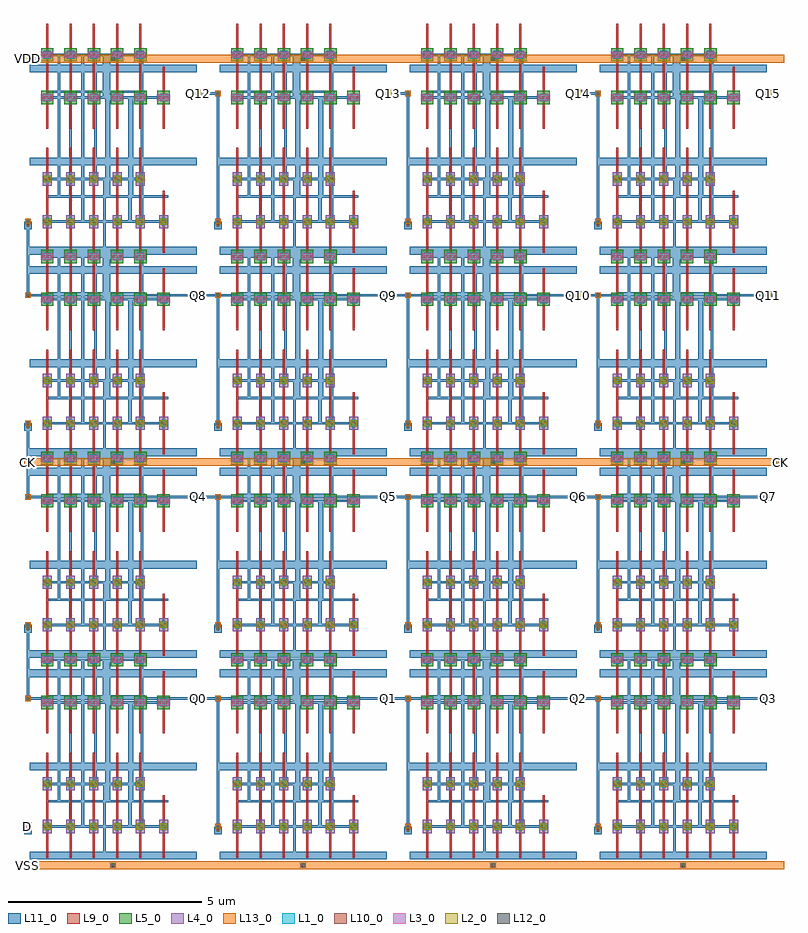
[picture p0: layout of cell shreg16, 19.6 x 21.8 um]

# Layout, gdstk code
import gdstk
lib = gdstk.Library(unit=1e-6, precision=5e-10)
def R(c, l, rs):  # rectangles x0, y0, x1, y1
    for r in rs: c.add(gdstk.rectangle(r[:2], r[2:], *l))
def A(c, l, x, y, w, h, nx, ny, dx, dy):  # array of equal rectangles
    R(c, l, [(x+i*dx, y+j*dy, x+i*dx+w, y+j*dy+h) for i in range(nx) for j in range(ny)])
L1_0 = (1, 0)
L2_0 = (2, 0)
L3_0 = (3, 0)
L4_0 = (4, 0)
L5_0 = (5, 0)
L9_0 = (9, 0)
L10_0 = (10, 0)
L11_0 = (11, 0)
L12_0 = (12, 0)
L13_0 = (13, 0)

dff = lib.new_cell('dff')
A(dff, L1_0, 0.555, 0.9, 0.09, 0.2, 6, 1, 0.6, 0)
A(dff, L1_0, 0.555, 2, 0.09, 0.2, 5, 1, 0.6, 0)
A(dff, L1_0, 0.51, 4.1, 0.18, 0.2, 6, 1, 0.6, 0)
A(dff, L1_0, 0.51, 5.2, 0.18, 0.2, 5, 1, 0.6, 0)
A(dff, L2_0, 0.5, 0.92, 0.2, 0.16, 6, 1, 0.6, 0)
A(dff, L2_0, 0.5, 2.02, 0.2, 0.16, 5, 1, 0.6, 0)
A(dff, L3_0, 0.455, 4.12, 0.29, 0.16, 6, 1, 0.6, 0)
A(dff, L3_0, 0.455, 5.22, 0.29, 0.16, 5, 1, 0.6, 0)
A(dff, L4_0, 0.485, 0.83, 0.23, 0.34, 6, 1, 0.6, 0)
A(dff, L4_0, 0.485, 1.93, 0.23, 0.34, 5, 1, 0.6, 0)
A(dff, L5_0, 0.44, 4.03, 0.32, 0.34, 6, 1, 0.6, 0)
A(dff, L5_0, 0.44, 5.13, 0.32, 0.34, 5, 1, 0.6, 0)
A(dff, L9_0, 0.575, 0.2, 0.05, 1.6, 6, 2, 0.6, 3.2)
A(dff, L9_0, 0.575, 1.3, 0.05, 1.6, 5, 2, 0.6, 3.2)
R(dff, L10_0, [(0.0675,0.8675,0.1325,0.9325), (0.5225,0.9675,0.5875,1.0325), (0.5225,0.9675,0.5875,1.0325), (0.5675,0.9675,0.6325,1.0325), (0.5675,0.9675,0.6325,1.0325), (0.6125,0.9675,0.6775,1.0325), (0.6125,0.9675,0.6775,1.0325), (1.1225,0.9675,1.1875,1.0325), (1.1225,0.9675,1.1875,1.0325), (1.1675,0.9675,1.2325,1.0325), (1.1675,0.9675,1.2325,1.0325), (1.2125,0.9675,1.2775,1.0325), (1.2125,0.9675,1.2775,1.0325), (1.7225,0.9675,1.7875,1.0325), (1.7225,0.9675,1.7875,1.0325), (1.7675,0.9675,1.8325,1.0325), (1.7675,0.9675,1.8325,1.0325), (1.8125,0.9675,1.8775,1.0325), (1.8125,0.9675,1.8775,1.0325), (2.3225,0.9675,2.3875,1.0325), (2.3225,0.9675,2.3875,1.0325), (2.3675,0.9675,2.4325,1.0325), (2.3675,0.9675,2.4325,1.0325), (2.4125,0.9675,2.4775,1.0325), (2.4125,0.9675,2.4775,1.0325), (2.9225,0.9675,2.9875,1.0325), (2.9225,0.9675,2.9875,1.0325), (2.9675,0.9675,3.0325,1.0325), (2.9675,0.9675,3.0325,1.0325), (3.0125,0.9675,3.0775,1.0325), (3.0125,0.9675,3.0775,1.0325), (3.5225,0.9675,3.5875,1.0325), (3.5225,0.9675,3.5875,1.0325), (3.5675,0.9675,3.6325,1.0325), (3.5675,0.9675,3.6325,1.0325), (3.6125,0.9675,3.6775,1.0325), (3.6125,0.9675,3.6775,1.0325), (0.5225,2.0675,0.5875,2.1325), (0.5225,2.0675,0.5875,2.1325), (0.5675,2.0675,0.6325,2.1325), (0.5675,2.0675,0.6325,2.1325), (0.6125,2.0675,0.6775,2.1325), (0.6125,2.0675,0.6775,2.1325), (1.1225,2.0675,1.1875,2.1325), (1.1225,2.0675,1.1875,2.1325), (1.1675,2.0675,1.2325,2.1325), (1.1675,2.0675,1.2325,2.1325), (1.2125,2.0675,1.2775,2.1325), (1.2125,2.0675,1.2775,2.1325), (1.7225,2.0675,1.7875,2.1325), (1.7225,2.0675,1.7875,2.1325), (1.7675,2.0675,1.8325,2.1325), (1.7675,2.0675,1.8325,2.1325), (1.8125,2.0675,1.8775,2.1325), (1.8125,2.0675,1.8775,2.1325), (2.3225,2.0675,2.3875,2.1325), (2.3225,2.0675,2.3875,2.1325), (2.3675,2.0675,2.4325,2.1325), (2.3675,2.0675,2.4325,2.1325), (2.4125,2.0675,2.4775,2.1325), (2.4125,2.0675,2.4775,2.1325), (2.9225,2.0675,2.9875,2.1325), (2.9225,2.0675,2.9875,2.1325), (2.9675,2.0675,3.0325,2.1325), (2.9675,2.0675,3.0325,2.1325), (3.0125,2.0675,3.0775,2.1325), (3.0125,2.0675,3.0775,2.1325), (0.4775,4.1675,0.5425,4.2325), (0.4775,4.1675,0.5425,4.2325), (0.5675,4.1675,0.6325,4.2325), (0.5675,4.1675,0.6325,4.2325), (0.6575,4.1675,0.7225,4.2325), (0.6575,4.1675,0.7225,4.2325), (1.0775,4.1675,1.1425,4.2325), (1.0775,4.1675,1.1425,4.2325), (1.1675,4.1675,1.2325,4.2325), (1.1675,4.1675,1.2325,4.2325), (1.2575,4.1675,1.3225,4.2325), (1.2575,4.1675,1.3225,4.2325), (1.6775,4.1675,1.7425,4.2325), (1.6775,4.1675,1.7425,4.2325), (1.7675,4.1675,1.8325,4.2325), (1.7675,4.1675,1.8325,4.2325), (1.8575,4.1675,1.9225,4.2325), (1.8575,4.1675,1.9225,4.2325), (2.2775,4.1675,2.3425,4.2325), (2.2775,4.1675,2.3425,4.2325), (2.3675,4.1675,2.4325,4.2325), (2.3675,4.1675,2.4325,4.2325), (2.4575,4.1675,2.5225,4.2325), (2.4575,4.1675,2.5225,4.2325), (2.8775,4.1675,2.9425,4.2325), (2.8775,4.1675,2.9425,4.2325), (2.9675,4.1675,3.0325,4.2325), (2.9675,4.1675,3.0325,4.2325), (3.0575,4.1675,3.1225,4.2325), (3.0575,4.1675,3.1225,4.2325), (3.4775,4.1675,3.5425,4.2325), (3.4775,4.1675,3.5425,4.2325), (3.5675,4.1675,3.6325,4.2325), (3.5675,4.1675,3.6325,4.2325), (3.6575,4.1675,3.7225,4.2325), (3.6575,4.1675,3.7225,4.2325), (4.4675,4.2675,4.5325,4.3325), (0.4775,5.2675,0.5425,5.3325), (0.4775,5.2675,0.5425,5.3325), (0.5675,5.2675,0.6325,5.3325), (0.5675,5.2675,0.6325,5.3325), (0.6575,5.2675,0.7225,5.3325), (0.6575,5.2675,0.7225,5.3325), (1.0775,5.2675,1.1425,5.3325), (1.0775,5.2675,1.1425,5.3325), (1.1675,5.2675,1.2325,5.3325), (1.1675,5.2675,1.2325,5.3325), (1.2575,5.2675,1.3225,5.3325), (1.2575,5.2675,1.3225,5.3325), (1.6775,5.2675,1.7425,5.3325), (1.6775,5.2675,1.7425,5.3325), (1.7675,5.2675,1.8325,5.3325), (1.7675,5.2675,1.8325,5.3325), (1.8575,5.2675,1.9225,5.3325), (1.8575,5.2675,1.9225,5.3325), (2.2775,5.2675,2.3425,5.3325), (2.2775,5.2675,2.3425,5.3325), (2.3675,5.2675,2.4325,5.3325), (2.3675,5.2675,2.4325,5.3325), (2.4575,5.2675,2.5225,5.3325), (2.4575,5.2675,2.5225,5.3325), (2.8775,5.2675,2.9425,5.3325), (2.8775,5.2675,2.9425,5.3325), (2.9675,5.2675,3.0325,5.3325), (2.9675,5.2675,3.0325,5.3325), (3.0575,5.2675,3.1225,5.3325), (3.0575,5.2675,3.1225,5.3325)])
A(dff, L11_0, 0.615, 1.62, 1.815, 0.06, 3, 1, 0.6, 0)
R(dff, L11_0, [(0.15,0.15,4.45,0.35), (0.525,0.22,3.63,0.28), (2.0475,0.22,2.1075,2.13), (0,0.8,0.2,1), (1.17,0.82,1.23,4.23), (1.17,0.82,1.23,0.88), (0.0325,0.8325,0.1675,0.9675), (0.4875,0.9325,0.6225,1.0675), (0.4875,0.9325,0.6225,1.0675), (0.5325,0.9325,0.6675,1.0675), (0.5325,0.9325,0.6675,1.0675), (0.5775,0.9325,0.7125,1.0675), (0.5775,0.9325,0.7125,1.0675), (1.0875,0.9325,1.2225,1.0675), (1.0875,0.9325,1.2225,1.0675), (1.1325,0.9325,1.2675,1.0675), (1.1325,0.9325,1.2675,1.0675), (1.1775,0.9325,1.3125,1.0675), (1.1775,0.9325,1.3125,1.0675), (1.6875,0.9325,1.8225,1.0675), (1.6875,0.9325,1.8225,1.0675), (1.7325,0.9325,1.8675,1.0675), (1.7325,0.9325,1.8675,1.0675), (1.7775,0.9325,1.9125,1.0675), (1.7775,0.9325,1.9125,1.0675), (2.2875,0.9325,2.4225,1.0675), (2.2875,0.9325,2.4225,1.0675), (2.3325,0.9325,2.4675,1.0675), (2.3325,0.9325,2.4675,1.0675), (2.3775,0.9325,2.5125,1.0675), (2.3775,0.9325,2.5125,1.0675), (2.8875,0.9325,3.0225,1.0675), (2.8875,0.9325,3.0225,1.0675), (2.9325,0.9325,3.0675,1.0675), (2.9325,0.9325,3.0675,1.0675), (2.9775,0.9325,3.1125,1.0675), (2.9775,0.9325,3.1125,1.0675), (3.4875,0.9325,3.6225,1.0675), (3.4875,0.9325,3.6225,1.0675), (3.5325,0.9325,3.6675,1.0675), (3.5325,0.9325,3.6675,1.0675), (3.5775,0.9325,3.7125,1.0675), (3.5775,0.9325,3.7125,1.0675), (0.525,0.97,2.1075,1.03), (0.57,0.97,1.53,1.03), (0.615,0.97,1.5525,1.03), (1.125,0.97,2.1075,1.03), (1.17,0.97,1.23,1.03), (1.215,0.97,1.53,1.03), (1.47,0.97,1.785,1.03), (1.47,0.97,1.53,5.33), (1.47,0.97,2.43,1.03), (1.47,0.97,1.53,1.68), (1.4925,0.97,1.83,1.03), (1.4925,0.97,1.5525,5.33), (1.815,0.97,2.7525,1.03), (2.0475,0.97,2.985,1.03), (2.0475,0.97,3.585,1.03), (2.325,0.97,2.7525,1.03), (2.415,0.97,2.775,1.03), (2.6925,0.97,3.63,1.03), (2.6925,0.97,2.7525,4.23), (2.715,0.97,3.075,1.03), (2.715,0.97,2.775,1.68), (2.97,0.97,3.075,1.03), (3.015,0.97,3.075,5.33), (3.015,0.97,3.675,1.03), (0.615,1.62,1.185,1.68), (0.66,1.62,1.14,1.68), (0.87,1.62,0.93,5.33), (0.87,1.62,0.93,2.13), (1.215,1.62,1.785,1.68), (1.26,1.62,1.74,1.68), (1.47,1.62,1.53,4.23), (1.815,1.62,2.475,1.68), (1.86,1.62,2.52,1.68), (2.0925,1.62,2.1525,5.33), (2.115,1.62,2.175,2.13), (2.16,1.62,2.22,5.33), (2.37,1.62,3.72,1.68), (2.415,1.62,3.075,1.68), (2.46,1.62,3.12,1.68), (2.76,1.62,2.82,4.23), (0.4875,2.0325,0.6225,2.1675), (0.4875,2.0325,0.6225,2.1675), (0.5325,2.0325,0.6675,2.1675), (0.5325,2.0325,0.6675,2.1675), (0.5775,2.0325,0.7125,2.1675), (0.5775,2.0325,0.7125,2.1675), (1.0875,2.0325,1.2225,2.1675), (1.0875,2.0325,1.2225,2.1675), (1.1325,2.0325,1.2675,2.1675), (1.1325,2.0325,1.2675,2.1675), (1.1775,2.0325,1.3125,2.1675), (1.1775,2.0325,1.3125,2.1675), (1.6875,2.0325,1.8225,2.1675), (1.6875,2.0325,1.8225,2.1675), (1.7325,2.0325,1.8675,2.1675), (1.7325,2.0325,1.8675,2.1675), (1.7775,2.0325,1.9125,2.1675), (1.7775,2.0325,1.9125,2.1675), (2.2875,2.0325,2.4225,2.1675), (2.2875,2.0325,2.4225,2.1675), (2.3325,2.0325,2.4675,2.1675), (2.3325,2.0325,2.4675,2.1675), (2.3775,2.0325,2.5125,2.1675), (2.3775,2.0325,2.5125,2.1675), (2.8875,2.0325,3.0225,2.1675), (2.8875,2.0325,3.0225,2.1675), (2.9325,2.0325,3.0675,2.1675), (2.9325,2.0325,3.0675,2.1675), (2.9775,2.0325,3.1125,2.1675), (2.9775,2.0325,3.1125,2.1675), (0.525,2.07,2.1075,2.13), (0.57,2.07,1.875,2.13), (0.615,2.07,0.93,2.13), (0.87,2.07,1.185,2.13), (1.17,2.07,1.5525,2.13), (1.215,2.07,2.1525,2.13), (1.47,2.07,1.83,2.13), (1.725,2.07,2.1525,2.13), (1.815,2.07,1.875,5.33), (1.815,2.07,3.075,2.13), (1.815,2.07,2.175,2.13), (2.0475,2.07,2.985,2.13), (2.0475,2.07,2.385,2.13), (2.0925,2.07,3.03,2.13), (2.115,2.07,2.475,2.13), (2.37,2.07,3.075,2.13), (0.15,2.45,4.45,2.65), (0.57,2.52,2.43,2.58), (0.4425,4.1325,0.5775,4.2675), (0.4425,4.1325,0.5775,4.2675), (0.5325,4.1325,0.6675,4.2675), (0.5325,4.1325,0.6675,4.2675), (0.6225,4.1325,0.7575,4.2675), (0.6225,4.1325,0.7575,4.2675), (1.0425,4.1325,1.1775,4.2675), (1.0425,4.1325,1.1775,4.2675), (1.1325,4.1325,1.2675,4.2675), (1.1325,4.1325,1.2675,4.2675), (1.2225,4.1325,1.3575,4.2675), (1.2225,4.1325,1.3575,4.2675), (1.6425,4.1325,1.7775,4.2675), (1.6425,4.1325,1.7775,4.2675), (1.7325,4.1325,1.8675,4.2675), (1.7325,4.1325,1.8675,4.2675), (1.8225,4.1325,1.9575,4.2675), (1.8225,4.1325,1.9575,4.2675), (2.2425,4.1325,2.3775,4.2675), (2.2425,4.1325,2.3775,4.2675), (2.3325,4.1325,2.4675,4.2675), (2.3325,4.1325,2.4675,4.2675), (2.4225,4.1325,2.5575,4.2675), (2.4225,4.1325,2.5575,4.2675), (2.8425,4.1325,2.9775,4.2675), (2.8425,4.1325,2.9775,4.2675), (2.9325,4.1325,3.0675,4.2675), (2.9325,4.1325,3.0675,4.2675), (3.0225,4.1325,3.1575,4.2675), (3.0225,4.1325,3.1575,4.2675), (3.4425,4.1325,3.5775,4.2675), (3.4425,4.1325,3.5775,4.2675), (3.5325,4.1325,3.6675,4.2675), (3.5325,4.1325,3.6675,4.2675), (3.6225,4.1325,3.7575,4.2675), (3.6225,4.1325,3.7575,4.2675), (0.48,4.17,2.085,4.23), (0.57,4.17,1.53,4.23), (0.66,4.17,1.5525,4.23), (1.08,4.17,2.085,4.23), (1.17,4.17,1.23,4.23), (1.26,4.17,1.53,4.23), (1.47,4.17,1.83,4.23), (1.47,4.17,1.74,4.23), (1.4925,4.17,2.43,4.23), (1.86,4.17,2.7525,4.23), (2.025,4.17,2.94,4.23), (2.025,4.17,3.54,4.23), (2.025,4.17,2.085,5.33), (2.28,4.17,2.7525,4.23), (2.46,4.17,2.82,4.23), (2.6925,4.17,3.63,4.23), (2.76,4.17,3.12,4.23), (2.97,4.17,3.075,4.23), (3.015,4.17,3.72,4.23), (4.4,4.2,4.6,4.4), (4.4325,4.2325,4.5675,4.3675), (0.57,4.32,3.12,4.38), (0.15,4.85,4.45,5.05), (0.48,4.92,3.63,4.98), (0.4425,5.2325,0.5775,5.3675), (0.4425,5.2325,0.5775,5.3675), (0.5325,5.2325,0.6675,5.3675), (0.5325,5.2325,0.6675,5.3675), (0.6225,5.2325,0.7575,5.3675), (0.6225,5.2325,0.7575,5.3675), (1.0425,5.2325,1.1775,5.3675), (1.0425,5.2325,1.1775,5.3675), (1.1325,5.2325,1.2675,5.3675), (1.1325,5.2325,1.2675,5.3675), (1.2225,5.2325,1.3575,5.3675), (1.2225,5.2325,1.3575,5.3675), (1.6425,5.2325,1.7775,5.3675), (1.6425,5.2325,1.7775,5.3675), (1.7325,5.2325,1.8675,5.3675), (1.7325,5.2325,1.8675,5.3675), (1.8225,5.2325,1.9575,5.3675), (1.8225,5.2325,1.9575,5.3675), (2.2425,5.2325,2.3775,5.3675), (2.2425,5.2325,2.3775,5.3675), (2.3325,5.2325,2.4675,5.3675), (2.3325,5.2325,2.4675,5.3675), (2.4225,5.2325,2.5575,5.3675), (2.4225,5.2325,2.5575,5.3675), (2.8425,5.2325,2.9775,5.3675), (2.8425,5.2325,2.9775,5.3675), (2.9325,5.2325,3.0675,5.3675), (2.9325,5.2325,3.0675,5.3675), (3.0225,5.2325,3.1575,5.3675), (3.0225,5.2325,3.1575,5.3675), (0.48,5.27,2.085,5.33), (0.57,5.27,1.875,5.33), (0.66,5.27,0.93,5.33), (0.87,5.27,1.14,5.33), (1.17,5.27,1.53,5.33), (1.26,5.27,2.1525,5.33), (1.4925,5.27,1.83,5.33), (1.68,5.27,2.1525,5.33), (1.815,5.27,3.12,5.33), (1.86,5.27,2.22,5.33), (2.025,5.27,2.94,5.33), (2.025,5.27,2.34,5.33), (2.0925,5.27,3.03,5.33), (2.16,5.27,2.52,5.33), (2.37,5.27,3.075,5.33)])
dff.add(gdstk.Label('VSS', (0.25,0.25), layer=11, texttype=1))
dff.add(gdstk.Label('VDD', (0.25,4.95), layer=11, texttype=1))
dff.add(gdstk.Label('CK', (0.25,2.55), layer=11, texttype=1))
dff.add(gdstk.Label('D', (0.1,0.9), layer=11, texttype=1))
dff.add(gdstk.Label('Q', (4.5,4.3), layer=11, texttype=1))

shreg16 = lib.new_cell('shreg16')
A(shreg16, L11_0, 0.03, 1.13, 0.14, 0.14, 4, 4, 4.9, 5.2)
A(shreg16, L11_0, 4.97, 1.17, 0.06, 3.36, 3, 4, 4.9, 5.2)
A(shreg16, L11_0, 4.4, 4.4, 0.2, 0.2, 4, 4, 4.9, 5.2)
A(shreg16, L11_0, 0.03, 4.43, 0.14, 0.14, 1, 3, 0, 5.2)
A(shreg16, L11_0, 4.43, 4.43, 0.14, 0.14, 1, 4, 0, 5.2)
A(shreg16, L11_0, 4.93, 4.43, 0.14, 0.14, 1, 4, 0, 5.2)
A(shreg16, L11_0, 9.33, 4.43, 0.14, 0.14, 1, 4, 0, 5.2)
A(shreg16, L11_0, 9.83, 4.43, 0.14, 0.14, 1, 4, 0, 5.2)
A(shreg16, L11_0, 14.23, 4.43, 0.14, 0.14, 1, 4, 0, 5.2)
A(shreg16, L11_0, 14.73, 4.43, 0.14, 0.14, 1, 4, 0, 5.2)
A(shreg16, L11_0, 19.13, 4.43, 0.14, 0.14, 1, 4, 0, 5.2)
A(shreg16, L11_0, 0.07, 4.47, 19.16, 0.06, 1, 3, 0, 5.2)
A(shreg16, L11_0, 0.07, 4.47, 0.06, 1.96, 1, 3, 0, 5.2)
A(shreg16, L11_0, 4.47, 4.47, 0.56, 0.06, 3, 4, 4.9, 5.2)
R(shreg16, L11_0, [(2.23,0.13,2.37,0.27), (2.23,0.13,2.37,0.27), (2.23,0.13,2.37,0.27), (2.23,0.13,2.37,0.27), (7.13,0.13,7.27,0.27), (7.13,0.13,7.27,0.27), (7.13,0.13,7.27,0.27), (7.13,0.13,7.27,0.27), (12.03,0.13,12.17,0.27), (12.03,0.13,12.17,0.27), (12.03,0.13,12.17,0.27), (12.03,0.13,12.17,0.27), (16.93,0.13,17.07,0.27), (16.93,0.13,17.07,0.27), (16.93,0.13,17.07,0.27), (16.93,0.13,17.07,0.27), (0,1.1,0.2,1.3), (19.4,10.5,19.6,10.7), (2.23,10.53,2.37,10.67), (2.23,10.53,2.37,10.67), (2.23,10.53,2.37,10.67), (2.23,10.53,2.37,10.67), (7.13,10.53,7.27,10.67), (7.13,10.53,7.27,10.67), (7.13,10.53,7.27,10.67), (7.13,10.53,7.27,10.67), (12.03,10.53,12.17,10.67), (12.03,10.53,12.17,10.67), (12.03,10.53,12.17,10.67), (12.03,10.53,12.17,10.67), (16.93,10.53,17.07,10.67), (16.93,10.53,17.07,10.67), (16.93,10.53,17.07,10.67), (16.93,10.53,17.07,10.67), (19.43,10.53,19.57,10.67), (2.23,20.93,2.37,21.07), (2.23,20.93,2.37,21.07), (2.23,20.93,2.37,21.07), (2.23,20.93,2.37,21.07), (7.13,20.93,7.27,21.07), (7.13,20.93,7.27,21.07), (7.13,20.93,7.27,21.07), (7.13,20.93,7.27,21.07), (12.03,20.93,12.17,21.07), (12.03,20.93,12.17,21.07), (12.03,20.93,12.17,21.07), (12.03,20.93,12.17,21.07), (16.93,20.93,17.07,21.07), (16.93,20.93,17.07,21.07), (16.93,20.93,17.07,21.07), (16.93,20.93,17.07,21.07)])
A(shreg16, L12_0, 0.065, 1.165, 0.07, 0.07, 4, 4, 4.9, 5.2)
A(shreg16, L12_0, 0.065, 4.465, 0.07, 0.07, 1, 3, 0, 5.2)
A(shreg16, L12_0, 4.465, 4.465, 0.07, 0.07, 1, 4, 0, 5.2)
A(shreg16, L12_0, 4.965, 4.465, 0.07, 0.07, 1, 4, 0, 5.2)
A(shreg16, L12_0, 9.365, 4.465, 0.07, 0.07, 1, 4, 0, 5.2)
A(shreg16, L12_0, 9.865, 4.465, 0.07, 0.07, 1, 4, 0, 5.2)
A(shreg16, L12_0, 14.265, 4.465, 0.07, 0.07, 1, 4, 0, 5.2)
A(shreg16, L12_0, 14.765, 4.465, 0.07, 0.07, 1, 4, 0, 5.2)
A(shreg16, L12_0, 19.165, 4.465, 0.07, 0.07, 1, 4, 0, 5.2)
R(shreg16, L12_0, [(2.265,0.165,2.335,0.235), (2.265,0.165,2.335,0.235), (2.265,0.165,2.335,0.235), (2.265,0.165,2.335,0.235), (7.165,0.165,7.235,0.235), (7.165,0.165,7.235,0.235), (7.165,0.165,7.235,0.235), (7.165,0.165,7.235,0.235), (12.065,0.165,12.135,0.235), (12.065,0.165,12.135,0.235), (12.065,0.165,12.135,0.235), (12.065,0.165,12.135,0.235), (16.965,0.165,17.035,0.235), (16.965,0.165,17.035,0.235), (16.965,0.165,17.035,0.235), (16.965,0.165,17.035,0.235), (2.265,10.565,2.335,10.635), (2.265,10.565,2.335,10.635), (2.265,10.565,2.335,10.635), (2.265,10.565,2.335,10.635), (7.165,10.565,7.235,10.635), (7.165,10.565,7.235,10.635), (7.165,10.565,7.235,10.635), (7.165,10.565,7.235,10.635), (12.065,10.565,12.135,10.635), (12.065,10.565,12.135,10.635), (12.065,10.565,12.135,10.635), (12.065,10.565,12.135,10.635), (16.965,10.565,17.035,10.635), (16.965,10.565,17.035,10.635), (16.965,10.565,17.035,10.635), (16.965,10.565,17.035,10.635), (19.465,10.565,19.535,10.635), (2.265,20.965,2.335,21.035), (2.265,20.965,2.335,21.035), (2.265,20.965,2.335,21.035), (2.265,20.965,2.335,21.035), (7.165,20.965,7.235,21.035), (7.165,20.965,7.235,21.035), (7.165,20.965,7.235,21.035), (7.165,20.965,7.235,21.035), (12.065,20.965,12.135,21.035), (12.065,20.965,12.135,21.035), (12.065,20.965,12.135,21.035), (12.065,20.965,12.135,21.035), (16.965,20.965,17.035,21.035), (16.965,20.965,17.035,21.035), (16.965,20.965,17.035,21.035), (16.965,20.965,17.035,21.035)])
A(shreg16, L13_0, 0, 0.1, 19.6, 0.2, 1, 3, 0, 10.4)
A(shreg16, L13_0, 0.03, 1.13, 0.14, 0.14, 4, 4, 4.9, 5.2)
A(shreg16, L13_0, 0.03, 4.43, 0.14, 0.14, 1, 3, 0, 5.2)
A(shreg16, L13_0, 4.43, 4.43, 0.14, 0.14, 1, 4, 0, 5.2)
A(shreg16, L13_0, 4.93, 4.43, 0.14, 0.14, 1, 4, 0, 5.2)
A(shreg16, L13_0, 9.33, 4.43, 0.14, 0.14, 1, 4, 0, 5.2)
A(shreg16, L13_0, 9.83, 4.43, 0.14, 0.14, 1, 4, 0, 5.2)
A(shreg16, L13_0, 14.23, 4.43, 0.14, 0.14, 1, 4, 0, 5.2)
A(shreg16, L13_0, 14.73, 4.43, 0.14, 0.14, 1, 4, 0, 5.2)
A(shreg16, L13_0, 19.13, 4.43, 0.14, 0.14, 1, 4, 0, 5.2)
R(shreg16, L13_0, [(2.23,0.13,2.37,0.27), (2.23,0.13,2.37,0.27), (2.23,0.13,2.37,0.27), (2.23,0.13,2.37,0.27), (7.13,0.13,7.27,0.27), (7.13,0.13,7.27,0.27), (7.13,0.13,7.27,0.27), (7.13,0.13,7.27,0.27), (12.03,0.13,12.17,0.27), (12.03,0.13,12.17,0.27), (12.03,0.13,12.17,0.27), (12.03,0.13,12.17,0.27), (16.93,0.13,17.07,0.27), (16.93,0.13,17.07,0.27), (16.93,0.13,17.07,0.27), (16.93,0.13,17.07,0.27), (2.23,10.53,2.37,10.67), (2.23,10.53,2.37,10.67), (2.23,10.53,2.37,10.67), (2.23,10.53,2.37,10.67), (7.13,10.53,7.27,10.67), (7.13,10.53,7.27,10.67), (7.13,10.53,7.27,10.67), (7.13,10.53,7.27,10.67), (12.03,10.53,12.17,10.67), (12.03,10.53,12.17,10.67), (12.03,10.53,12.17,10.67), (12.03,10.53,12.17,10.67), (16.93,10.53,17.07,10.67), (16.93,10.53,17.07,10.67), (16.93,10.53,17.07,10.67), (16.93,10.53,17.07,10.67), (19.43,10.53,19.57,10.67), (2.23,20.93,2.37,21.07), (2.23,20.93,2.37,21.07), (2.23,20.93,2.37,21.07), (2.23,20.93,2.37,21.07), (7.13,20.93,7.27,21.07), (7.13,20.93,7.27,21.07), (7.13,20.93,7.27,21.07), (7.13,20.93,7.27,21.07), (12.03,20.93,12.17,21.07), (12.03,20.93,12.17,21.07), (12.03,20.93,12.17,21.07), (12.03,20.93,12.17,21.07), (16.93,20.93,17.07,21.07), (16.93,20.93,17.07,21.07), (16.93,20.93,17.07,21.07), (16.93,20.93,17.07,21.07)])
shreg16.add(gdstk.Reference(dff, (0,0.2)))
shreg16.add(gdstk.Reference(dff, (4.9,0.2)))
shreg16.add(gdstk.Reference(dff, (9.8,0.2)))
shreg16.add(gdstk.Reference(dff, (14.7,0.2)))
shreg16.add(gdstk.Reference(dff, (0,5.4)))
shreg16.add(gdstk.Reference(dff, (4.9,5.4)))
shreg16.add(gdstk.Reference(dff, (9.8,5.4)))
shreg16.add(gdstk.Reference(dff, (14.7,5.4)))
shreg16.add(gdstk.Reference(dff, (0,10.6)))
shreg16.add(gdstk.Reference(dff, (4.9,10.6)))
shreg16.add(gdstk.Reference(dff, (9.8,10.6)))
shreg16.add(gdstk.Reference(dff, (14.7,10.6)))
shreg16.add(gdstk.Reference(dff, (0,15.8)))
shreg16.add(gdstk.Reference(dff, (4.9,15.8)))
shreg16.add(gdstk.Reference(dff, (9.8,15.8)))
shreg16.add(gdstk.Reference(dff, (14.7,15.8)))
shreg16.add(gdstk.Label('D', (0.1,1.2), layer=11, texttype=1))
shreg16.add(gdstk.Label('Q0', (4.5,4.5), layer=11, texttype=1))
shreg16.add(gdstk.Label('Q1', (9.4,4.5), layer=11, texttype=1))
shreg16.add(gdstk.Label('Q2', (14.3,4.5), layer=11, texttype=1))
shreg16.add(gdstk.Label('Q3', (19.2,4.5), layer=11, texttype=1))
shreg16.add(gdstk.Label('Q4', (4.5,9.7), layer=11, texttype=1))
shreg16.add(gdstk.Label('Q5', (9.4,9.7), layer=11, texttype=1))
shreg16.add(gdstk.Label('Q6', (14.3,9.7), layer=11, texttype=1))
shreg16.add(gdstk.Label('Q7', (19.2,9.7), layer=11, texttype=1))
shreg16.add(gdstk.Label('Q8', (4.5,14.9), layer=11, texttype=1))
shreg16.add(gdstk.Label('Q9', (9.4,14.9), layer=11, texttype=1))
shreg16.add(gdstk.Label('Q10', (14.3,14.9), layer=11, texttype=1))
shreg16.add(gdstk.Label('Q11', (19.2,14.9), layer=11, texttype=1))
shreg16.add(gdstk.Label('Q12', (4.5,20.1), layer=11, texttype=1))
shreg16.add(gdstk.Label('Q13', (9.4,20.1), layer=11, texttype=1))
shreg16.add(gdstk.Label('Q14', (14.3,20.1), layer=11, texttype=1))
shreg16.add(gdstk.Label('Q15', (19.2,20.1), layer=11, texttype=1))
shreg16.add(gdstk.Label('CK', (19.5,10.6), layer=11, texttype=1))
shreg16.add(gdstk.Label('VSS', (0.1,0.2), layer=13, texttype=1))
shreg16.add(gdstk.Label('VDD', (0.1,21), layer=13, texttype=1))
shreg16.add(gdstk.Label('CK', (0.1,10.6), layer=13, texttype=1))

lib.write_gds('shreg16.gds')
